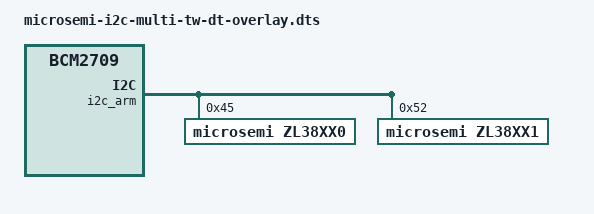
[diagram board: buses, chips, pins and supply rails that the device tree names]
// Overlay to enable ZL380xx device registration via I2C
/dts-v1/;
/plugin/;

/ {
    compatible =  "brcm,bcm2708","brcm,bcm2709";

    fragment@0 {
        target = <&i2c_arm>;
	__overlay__ {
		#address-cells = <1>;
		#size-cells = <0>;
		status = "okay";
	
		zl38xx0: zl38xx0@45 {
			compatible = "microsemi,zl38xx0";
			reg = <0x45>;
			status = "okay";
		};
		zl38xx1: zl38xx1@52 {
			compatible = "microsemi,zl38xx1";
			reg = <0x52>;
			status = "okay";
		};					
        };
    };
};
